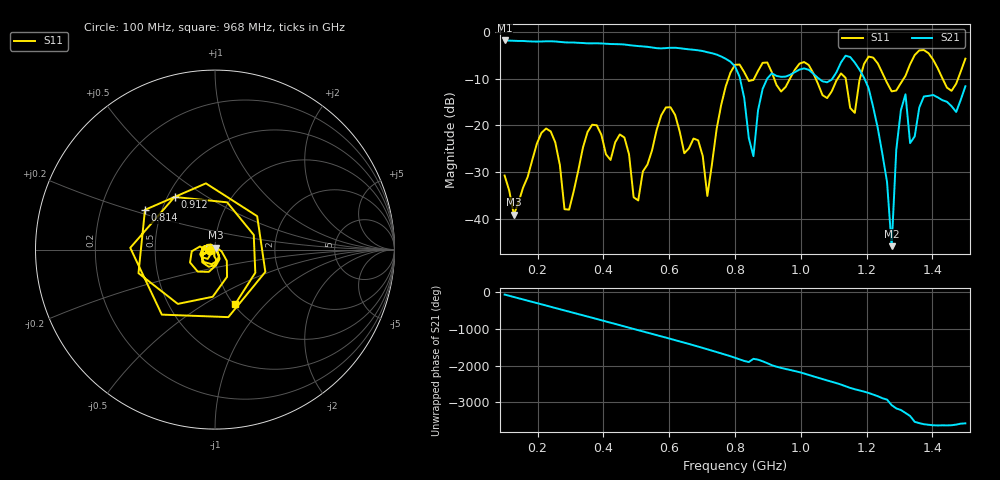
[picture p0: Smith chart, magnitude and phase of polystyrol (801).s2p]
! NanoVNA-App
! Date: 2025-09-25 15:36:07
! Start: 100MHz Stop: 1,5GHz Points: 101
! S-Parameter data: F S11 S21 S12 S22
# Hz S RI R 50
!  Frequency  S11_Real  S11_Imag  S21_Real  S21_Imag  S12_Real  S12_Imag  S22_Real  S22_Imag
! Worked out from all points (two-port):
!   101 points, 100 MHz to 1.5 GHz, reference 50 ohm
!   highest |S21| = -1.80 dB at 100 MHz (marker M1); lowest = -45.8 dB at 1.276 GHz (marker M2)
!   |S21| within 3 dB of the highest: start of sweep to 743.2 MHz
!   lowest |S11| = -39.1 dB at 128 MHz (marker M3), VSWR 1.02, Z = 50.3 + j1.06 ohm
!   |S11| at or under -10 dB: start of sweep to 779.8 MHz; 1.045 GHz to 1.112 GHz (66.26 MHz wide, 6.14 % of centre); 1.256 GHz to 1.312 GHz (56.24 MHz wide, 4.38 % of centre) (the widest 3 of 7)
!   S12 and S22 are empty: the file has one direction only
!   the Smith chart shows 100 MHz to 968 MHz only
!   S11 on the Smith chart (normalised r, x): 100 MHz: 0.94, -0.01; 814 MHz: 0.40, +0.22; 912 MHz: 0.54, +0.37; 968 MHz: 1.02, -0.69
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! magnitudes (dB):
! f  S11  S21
! 100 MHz  -30.7  -1.8
! 128 MHz  -39.1  -1.9
! 212 MHz  -21.6  -2.0
! 282 MHz  -37.9  -2.2
! 338 MHz  -24.7  -2.3
! 464 MHz  -22.6  -2.7
! 506 MHz  -36.1  -3.0
! 576 MHz  -17.8  -3.5
! 716 MHz  -35.1  -4.3
! 800 MHz  -7.0  -7.4
! 814 MHz  -7.0  -9.6
! 856 MHz  -10.3  -26.6
! 912 MHz  -8.6  -8.8
! 968 MHz  -9.8  -9.1
! 1.038 GHz  -8.8  -8.9
! 1.164 GHz  -17.3  -6.5
! 1.192 GHz  -6.8  -9.8
! 1.276 GHz  -12.7  -45.8
! 1.29 GHz  -12.5  -25.2
! 1.318 GHz  -9.4  -13.3
! 1.332 GHz  -6.9  -23.8
! 1.5 GHz  -5.7  -11.6
